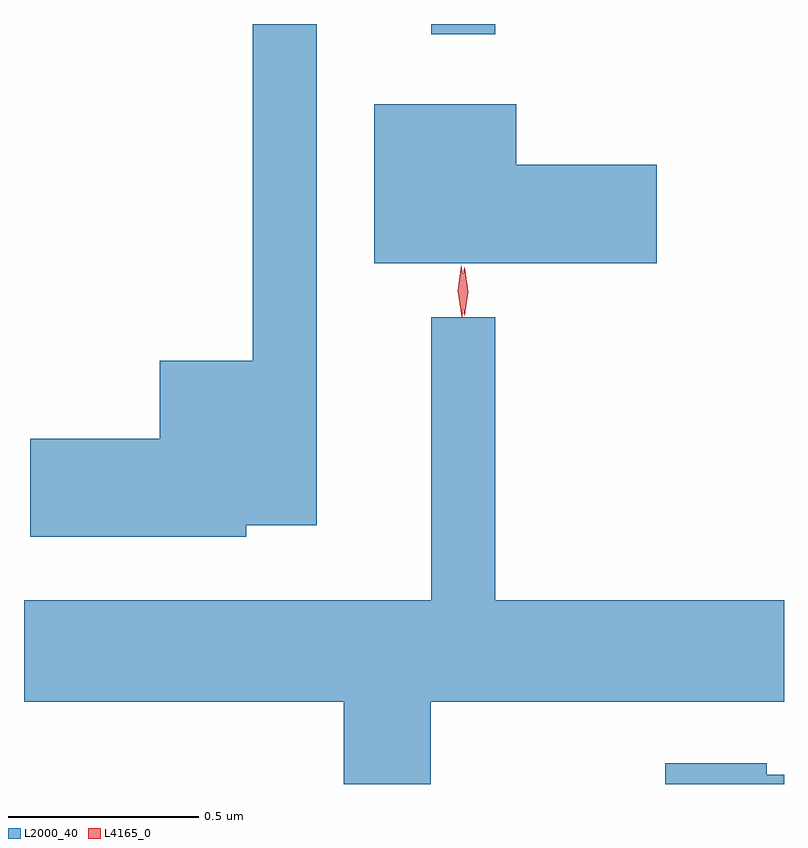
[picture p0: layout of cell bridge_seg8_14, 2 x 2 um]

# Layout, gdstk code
import gdstk
lib = gdstk.Library(unit=1e-6, precision=1e-09)
def R(c, l, rs):  # rectangles x0, y0, x1, y1
    for r in rs: c.add(gdstk.rectangle(r[:2], r[2:], *l))
def P(c, l, *ps):  # polygons
    for p in ps: c.add(gdstk.Polygon(p, *l))
L2000_40 = (2000, 40)
L4165_0 = (4165, 0)

bridge_seg8_14 = lib.new_cell('bridge_seg8_14')
R(bridge_seg8_14, L2000_40, [(1725.241,1938.073,1725.409,1938.1)])
P(bridge_seg8_14, L2000_40, [(1724.754,1936.781),(1724.939,1936.781),(1724.939,1938.1),(1724.771,1938.1),(1724.771,1937.214),(1724.526,1937.214),(1724.526,1937.009),(1724.186,1937.009),(1724.186,1936.751),(1724.754,1936.751)],
  [(1725.834,1937.729),(1725.464,1937.729),(1725.464,1937.889),(1725.091,1937.889),(1725.091,1937.471),(1725.834,1937.471)],
  [(1725.239,1936.316),(1726.169,1936.316),(1726.169,1936.584),(1725.409,1936.584),(1725.409,1937.328),(1725.241,1937.328),(1725.241,1936.584),(1724.169,1936.584),(1724.169,1936.316),(1725.011,1936.316),(1725.011,1936.1),(1725.239,1936.1)],
  [(1726.169,1936.124),(1726.124,1936.124),(1726.124,1936.154),(1725.856,1936.154),(1725.856,1936.1),(1726.169,1936.1)])
P(bridge_seg8_14, L4165_0, [(1725.321,1937.33),(1725.321,1937.33),(1725.311,1937.398),(1725.319,1937.465),(1725.32,1937.466),(1725.32,1937.465),(1725.33,1937.398),(1725.322,1937.33)],
  [(1725.328,1937.333),(1725.328,1937.333),(1725.318,1937.396),(1725.328,1937.459),(1725.328,1937.46),(1725.329,1937.459),(1725.338,1937.396),(1725.329,1937.333)])

lib.write_gds('bridge_seg8_14.gds')
